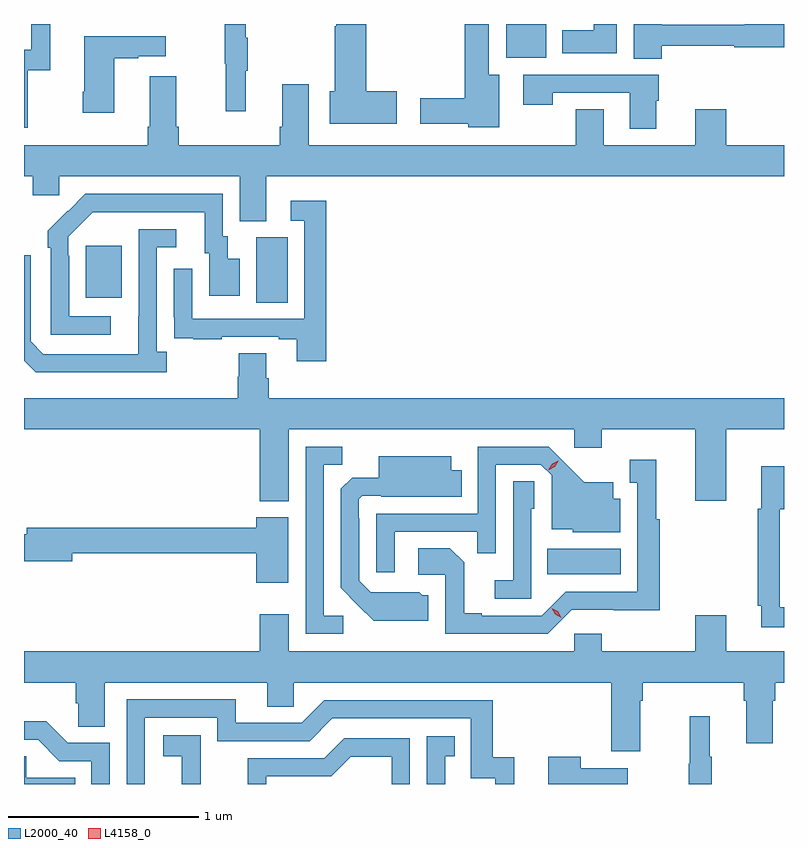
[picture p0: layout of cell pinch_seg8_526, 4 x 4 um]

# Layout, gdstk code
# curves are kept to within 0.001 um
import gdstk
lib = gdstk.Library(unit=1e-6, precision=1e-09)
def R(c, l, rs):  # rectangles x0, y0, x1, y1
    for r in rs: c.add(gdstk.rectangle(r[:2], r[2:], *l))
def P(c, l, *ps):  # polygons
    for p in ps: c.add(gdstk.Polygon(p, *l))
L2000_40 = (2000, 40)
L4158_0 = (4158, 0)

pinch_seg8_526 = lib.new_cell('pinch_seg8_526')
R(pinch_seg8_526, L2000_40, [(152.242,1102.418,152.629,1102.552), (150.71,1103.848,150.874,1104.192), (149.813,1103.873,150.001,1104.148), (152.024,1105.136,152.236,1105.314)])
P(pinch_seg8_526, L2000_40, [(150.653,1105.067),(150.664,1105.067),(150.664,1105.241),(150.653,1105.241),(150.653,1105.314),(150.543,1105.314),(150.543,1105.104),(150.55,1105.104),(150.55,1104.855),(150.653,1104.855)],
  [(151.45,1104.959),(151.289,1104.959),(151.289,1105.314),(151.13,1105.314),(151.13,1105.301),(151.123,1105.301),(151.123,1104.959),(151.097,1104.959),(151.097,1104.788),(151.45,1104.788)],
  [(149.506,1105.071),(149.624,1105.071),(149.624,1105.314),(149.526,1105.314),(149.526,1105.179),(149.487,1105.179),(149.487,1104.768),(149.506,1104.768)],
  [(152.608,1105.314),(152.486,1105.314),(152.486,1105.282),(152.321,1105.282),(152.321,1105.16),(152.608,1105.16)],
  [(151.987,1105.048),(151.933,1105.048),(151.933,1105.314),(151.808,1105.314),(151.808,1104.923),(151.572,1104.923),(151.572,1104.788),(151.824,1104.788),(151.824,1104.77),(151.987,1104.77)],
  [(152.843,1105.2),(153.226,1105.2),(153.226,1105.192),(153.487,1105.192),(153.487,1105.314),(153.28,1105.314),(153.28,1105.309),(152.843,1105.309),(152.843,1105.314),(152.696,1105.314),(152.696,1105.132),(152.843,1105.132)],
  [(149.962,1105.135),(150.089,1105.135),(150.089,1105.145),(150.232,1105.145),(150.232,1105.249),(149.804,1105.249),(149.804,1104.958),(149.797,1104.958),(149.797,1104.846),(149.962,1104.846)],
  [(152.815,1104.909),(152.828,1104.909),(152.828,1105.047),(152.115,1105.047),(152.115,1104.888),(152.271,1104.888),(152.271,1104.951),(152.675,1104.951),(152.675,1104.762),(152.815,1104.762)],
  [(150.763,1104.512),(153.487,1104.512),(153.487,1104.676),(153.184,1104.676),(153.184,1104.865),(153.02,1104.865),(153.02,1104.676),(152.539,1104.676),(152.539,1104.866),(152.392,1104.866),(152.392,1104.676),(150.985,1104.676),(150.985,1104.997),(150.845,1104.997),(150.845,1104.772),(150.833,1104.772),(150.833,1104.676),(150.302,1104.676),(150.302,1104.772),(150.289,1104.772),(150.289,1105.039),(150.149,1105.039),(150.149,1104.772),(150.137,1104.772),(150.137,1104.676),(149.487,1104.676),(149.487,1104.512),(149.534,1104.512),(149.534,1104.414),(149.673,1104.414),(149.673,1104.512),(150.623,1104.512),(150.623,1104.277),(150.763,1104.277)],
  [(149.944,1103.775),(149.724,1103.775),(149.724,1104.095),(149.721,1104.095),(149.721,1104.195),(149.85,1104.324),(150.437,1104.324),(150.437,1104.108),(150.461,1104.108),(150.461,1103.883),(150.622,1103.883),(150.622,1104.079),(150.559,1104.079),(150.559,1104.198),(150.534,1104.198),(150.534,1104.42),(149.81,1104.42),(149.613,1104.225),(149.613,1104.137),(149.628,1104.137),(149.628,1103.679),(149.944,1103.679)],
  [(151.079,1104.385),(150.891,1104.385),(150.891,1104.279),(150.963,1104.279),(150.963,1103.763),(150.372,1103.763),(150.372,1104.025),(150.276,1104.025),(150.276,1103.77),(150.277,1103.77),(150.277,1103.661),(150.379,1103.661),(150.379,1103.655),(150.527,1103.655),(150.527,1103.667),(150.827,1103.667),(150.827,1103.655),(150.923,1103.655),(150.923,1103.538),(151.079,1103.538)],
  [(150.238,1103.59),(150.186,1103.59),(150.186,1104.138),(150.289,1104.138),(150.289,1104.234),(150.09,1104.234),(150.089,1103.577),(149.589,1103.577),(149.523,1103.643),(149.523,1104.097),(149.487,1104.097),(149.487,1103.541),(149.548,1103.48),(150.238,1103.48)],
  [(150.88,1103.18),(152.382,1103.18),(152.382,1103.085),(152.529,1103.085),(152.529,1103.18),(153.02,1103.18),(153.02,1102.806),(153.184,1102.806),(153.184,1103.18),(153.487,1103.18),(153.487,1103.344),(150.776,1103.344),(150.776,1103.45),(150.763,1103.45),(150.763,1103.582),(150.616,1103.582),(150.616,1103.457),(150.611,1103.457),(150.611,1103.344),(149.487,1103.344),(149.487,1103.18),(150.728,1103.18),(150.728,1102.802),(150.88,1102.802)],
  [(151.168,1102.2),(151.065,1102.2),(151.065,1102.993),(151.161,1102.993),(151.161,1103.088),(150.969,1103.088),(150.969,1102.104),(151.168,1102.104)],
  [(151.437,1102.641),(151.873,1102.641),(151.873,1102.528),(151.971,1102.528),(151.971,1102.995),(152.208,1102.995),(152.265,1102.938),(152.265,1102.655),(152.376,1102.655),(152.376,1102.64),(152.626,1102.64),(152.626,1102.816),(152.587,1102.816),(152.587,1102.903),(152.435,1102.903),(152.248,1103.088),(151.875,1103.088),(151.875,1102.737),(151.341,1102.737),(151.341,1102.428),(151.437,1102.428)],
  [(151.615,1102.308),(151.584,1102.308),(151.568,1102.324),(151.311,1102.323),(151.251,1102.383),(151.251,1102.712),(151.248,1102.712),(151.248,1102.812),(151.266,1102.83),(151.366,1102.83),(151.366,1102.826),(151.79,1102.826),(151.79,1102.966),(151.735,1102.966),(151.735,1103.038),(151.355,1103.038),(151.355,1102.927),(151.214,1102.927),(151.155,1102.868),(151.155,1102.346),(151.327,1102.172),(151.615,1102.172)],
  [(152.37,1102.23),(152.833,1102.229),(152.833,1102.707),(152.815,1102.707),(152.815,1103.02),(152.675,1103.02),(152.675,1102.899),(152.714,1102.899),(152.714,1102.326),(152.337,1102.326),(152.211,1102.2),(151.897,1102.2),(151.897,1102.213),(151.803,1102.213),(151.803,1102.48),(151.727,1102.556),(151.563,1102.556),(151.563,1102.416),(151.704,1102.416),(151.704,1102.104),(152.244,1102.104)],
  [(153.487,1102.245),(153.465,1102.245),(153.465,1102.761),(153.487,1102.761),(153.487,1102.987),(153.368,1102.987),(153.368,1102.764),(153.349,1102.764),(153.349,1102.252),(153.368,1102.252),(153.368,1102.14),(153.487,1102.14)],
  [(152.157,1102.764),(152.172,1102.764),(152.172,1102.907),(152.061,1102.907),(152.061,1102.387),(151.965,1102.387),(151.965,1102.29),(152.157,1102.29)],
  [(150.877,1102.717),(150.71,1102.717),(150.71,1102.664),(149.501,1102.664),(149.501,1102.628),(149.487,1102.628),(149.487,1102.486),(149.74,1102.486),(149.74,1102.528),(150.71,1102.528),(150.71,1102.374),(150.877,1102.374)],
  [(152.731,1101.752),(152.744,1101.752),(152.744,1101.848),(153.275,1101.848),(153.275,1101.752),(153.287,1101.752),(153.287,1101.528),(153.427,1101.528),(153.427,1101.752),(153.44,1101.752),(153.44,1101.848),(153.487,1101.848),(153.487,1102.012),(153.184,1102.012),(153.184,1102.201),(153.02,1102.201),(153.02,1102.012),(152.529,1102.012),(152.529,1102.105),(152.382,1102.105),(152.382,1102.012),(150.88,1102.012),(150.88,1102.207),(150.728,1102.207),(150.728,1102.012),(149.487,1102.012),(149.487,1101.848),(149.759,1101.848),(149.759,1101.739),(149.772,1101.739),(149.772,1101.616),(149.911,1101.616),(149.911,1101.848),(150.767,1101.848),(150.767,1101.721),(150.906,1101.721),(150.906,1101.848),(152.579,1101.848),(152.579,1101.486),(152.731,1101.486)],
  [(150.123,1101.663),(150.504,1101.663),(150.504,1101.54),(150.99,1101.54),(151.11,1101.66),(151.839,1101.66),(151.839,1101.345),(151.968,1101.345),(151.968,1101.314),(152.066,1101.314),(152.066,1101.454),(151.955,1101.454),(151.955,1101.756),(151.068,1101.756),(150.948,1101.636),(150.601,1101.636),(150.601,1101.759),(150.027,1101.759),(150.027,1101.314),(150.123,1101.314)],
  [(153.106,1101.457),(153.095,1101.457),(153.095,1101.67),(152.992,1101.67),(152.992,1101.42),(152.985,1101.42),(152.985,1101.314),(153.106,1101.314)],
  [(149.937,1101.531),(149.718,1101.531),(149.605,1101.644),(149.487,1101.644),(149.487,1101.546),(149.561,1101.546),(149.672,1101.435),(149.841,1101.435),(149.841,1101.314),(149.937,1101.314)],
  [(150.416,1101.365),(150.417,1101.365),(150.417,1101.571),(150.219,1101.571),(150.219,1101.461),(150.317,1101.461),(150.317,1101.314),(150.416,1101.314)],
  [(151.705,1101.459),(151.754,1101.459),(151.754,1101.565),(151.608,1101.565),(151.608,1101.314),(151.705,1101.314)],
  [(150.762,1101.354),(151.104,1101.354),(151.208,1101.458),(151.422,1101.458),(151.422,1101.314),(151.518,1101.314),(151.518,1101.555),(151.172,1101.555),(151.067,1101.45),(150.664,1101.45),(150.664,1101.314),(150.762,1101.314)],
  [(149.756,1101.346),(149.499,1101.346),(149.499,1101.461),(149.487,1101.461),(149.487,1101.314),(149.756,1101.314)],
  [(152.665,1101.397),(152.417,1101.397),(152.417,1101.457),(152.246,1101.457),(152.246,1101.314),(152.665,1101.314)])
P(pinch_seg8_526, L4158_0, [(152.25,1102.969),(152.25,1102.97),(152.267,1102.999),(152.298,1103.015),(152.298,1103.015),(152.298,1103.014),(152.281,1102.985),(152.251,1102.969)],
  [(152.315,1102.189),(152.283,1102.208),(152.265,1102.24),(152.265,1102.24),(152.265,1102.24),(152.297,1102.222),(152.315,1102.19),(152.315,1102.189)])

lib.write_gds('pinch_seg8_526.gds')
